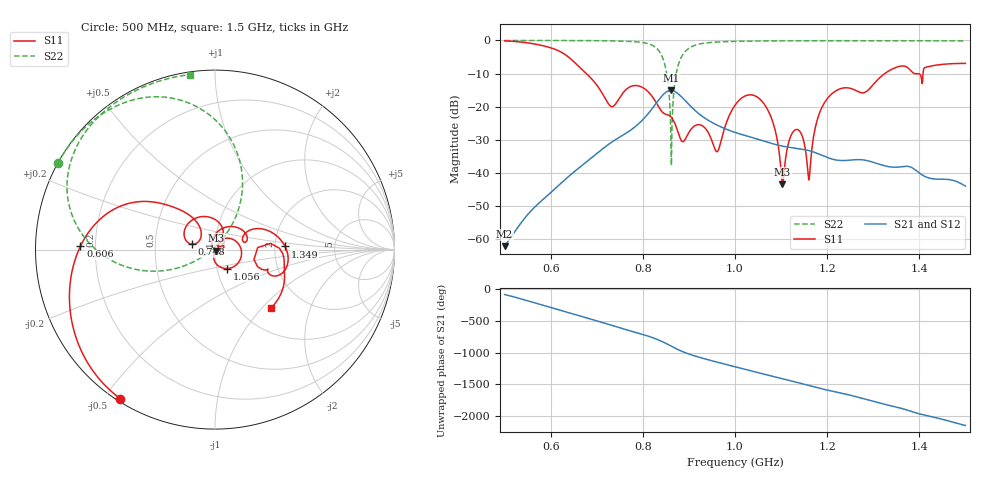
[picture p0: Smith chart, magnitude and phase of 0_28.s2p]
! TOUCHSTONE file generated by CST MICROWAVE STUDIO
! Date and time: Mon Sep 28 14:12:34 2020
! Project name: Scenario_1_Free_SPace.cst
! Parameters = {dx1=640.9; L_HA=400; MT=2.54; Rad_Dielectric=30; Rad_Lower=7.3; Rad_Upper=30; a_HA=580; a_WG=246; b_HA=500; b_WG=121; c_HA=0; c_WG=187; d_feed=85; h_feed=15; h_lower=18; h_upper=40}
! Header version: 2018
! Port assignment regex: !\s*Touchstone port\s*([0-9]+)\s*=\s*(CST MWS port|CST DS port)\s*([0-9]+|Zmin|Zmax)\s*\(\"(.*)\"\)(\s*mode\s*([0-9]+))?.*
! Touchstone port assignment:
! Touchstone port 1 = CST MWS port 1 ("")
! Touchstone port 2 = CST MWS port 2 ("")
# GHz S DB R 50
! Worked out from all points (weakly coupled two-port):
!   1003 points, 500 MHz to 1.5 GHz, reference 50 ohm
!   highest |S21| = -15.06 dB at 861 MHz (marker M1); lowest = -62.1 dB at 500 MHz (marker M2)
!   lowest |S11| = -43.4 dB at 1.103 GHz (marker M3), VSWR 1.01, Z = 50.4 - j0.517 ohm
!   |S11| at or under -10 dB: 677.6 MHz to 1.325 GHz (647.4 MHz wide, 64.7 % of centre); 1.39 GHz to 1.408 GHz (18.22 MHz wide, 1.3 % of centre)
!   |S22| runs from -37.7 to 0.0 dB; largest |S21 - S12| = 6e-05
!   S11 on the Smith chart (normalised r, x): 500 MHz: 0.01, -0.55; 606 MHz: 0.14, +0.01; 748 MHz: 0.77, +0.05; 1.056 GHz: 1.12, -0.24; 1.349 GHz: 2.28, +0.10; 1.5 GHz: 1.38, -1.12
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0.5  -0.14 -122.4  -62.09 -86.4  -62.09 -86.4  -0.01 151.1
0.606  -2.50 178.6  -45.17 57.0  -45.17 57.0  -0.02 143.7
0.667  -8.61 137.5  -37.83 -70.7  -37.83 -70.7  -0.04 138.4
0.748  -17.65 166.7  -29.32 113.8  -29.32 113.8  -0.18 128.1
0.834  -19.97 62.7  -18.04 -80.9  -18.04 -80.9  -3.00 88.6
0.85  -22.27 57.4  -15.63 -135.4  -15.63 -135.4  -8.66 65.6
0.861  -23.08 44.1  -15.06 -177.4  -15.06 -177.4  -30.96 67.4
0.874  -26.70 27.2  -15.80 134.6  -15.80 134.6  -8.95 -160.3
0.891  -30.02 53.1  -18.03 81.3  -18.03 81.3  -3.49 179.6
0.925  -25.50 23.4  -22.50 0.7  -22.50 0.7  -1.03 158.1
0.962  -33.49 33.0  -25.60 -72.3  -25.60 -72.3  -0.47 147.3
1  -19.56 36.1  -27.76 -143.5  -27.76 -143.5  -0.28 140.8
1.056  -17.97 -56.7  -30.09 112.4  -30.09 112.4  -0.17 134.1
1.084  -25.50 -96.8  -31.25 61.5  -31.25 61.5  -0.14 131.4
1.103  -43.39 -49.2  -31.89 27.8  -31.89 27.8  -0.13 129.7
1.129  -27.15 -4.7  -32.47 -19.0  -32.47 -19.0  -0.11 127.5
1.159  -41.10 -114.5  -33.19 -75.9  -33.19 -75.9  -0.10 125.1
1.167  -32.57 132.7  -33.51 -91.4  -33.51 -91.4  -0.10 124.4
1.206  -16.66 60.1  -35.61 -160.2  -35.61 -160.2  -0.09 121.4
1.334  -9.18 13.5  -38.10 -29.8  -38.10 -29.8  -0.09 111.7
1.349  -8.17 2.6  -38.26 -55.7  -38.26 -55.7  -0.09 110.5
1.5  -6.93 -46.0  -43.96 12.8  -43.91 12.3  -0.14 98.2
